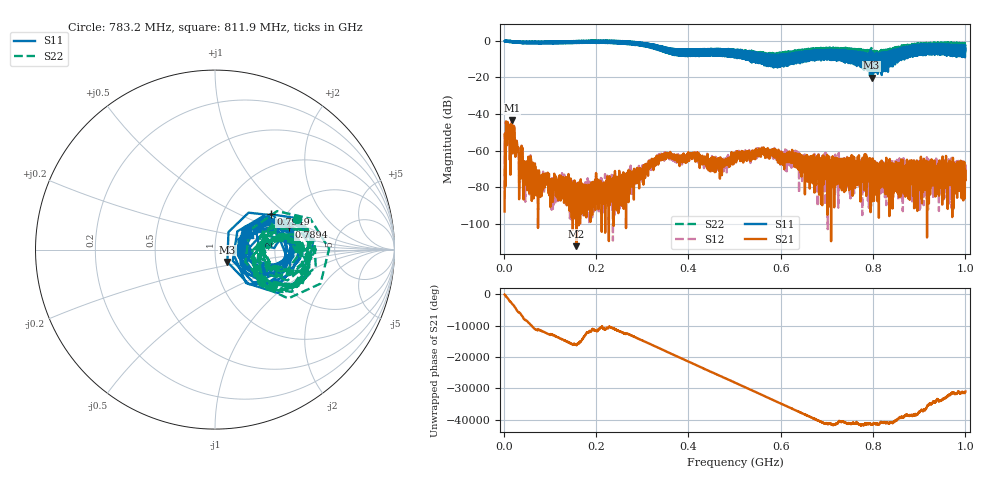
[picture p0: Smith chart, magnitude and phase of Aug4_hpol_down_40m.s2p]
!Keysight Technologies N9923A: A.12.45
!Date: Tuesday, 05 August 2025 19:04:59
!Timezone: (UTC+08:00) Kuala Lumpur, Singapore
!Model: N9923A
!Serial: MY61181427
!GPS Latitude:
!GPS Longitude:
!GPS TimeStamp: 0001-01-01 00:00:00Z
!GPS Seconds Since Last Read: 0
!CHECKSUM:0980365549
!Correction: S11(ON U)S21(ON U)S12(ON U)S22(ON U)
!S2P File: Measurements:S11,S21,S12,S22:
# Hz S DB R 50
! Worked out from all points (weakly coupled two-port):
!   4001 points, 2 MHz to 1 GHz, reference 50 ohm
!   highest |S21| = -43.37 dB at 17.97 MHz (marker M1); lowest = -112.2 dB at 157.7 MHz (marker M2)
!   lowest |S11| = -20.2 dB at 796.9 MHz (marker M3), VSWR 1.22, Z = 56.8 - j7.9 ohm
!   |S11| at or under -10 dB: 575.8139 MHz to 576.5993 MHz (785.3 kHz wide, 0.136 % of centre); 582.5495 MHz to 583.3441 MHz (794.6 kHz wide, 0.136 % of centre); 589.3054 MHz to 590.1078 MHz (802.4 kHz wide, 0.136 % of centre)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
!   |S22| runs from -14.7 to 0.2 dB; largest |S21 - S12| = 0.0011
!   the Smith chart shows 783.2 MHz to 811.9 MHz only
!   S11 on the Smith chart (normalised r, x): 783.2 MHz: 1.39, +0.33; 789.4 MHz: 2.25, +0.69; 794.9 MHz: 1.68, +0.76; 811.9 MHz: 1.46, +0.25
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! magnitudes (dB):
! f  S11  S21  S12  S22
! 2 MHz  -0.1  -93.2  -81.0  -0.1
! 7.489 MHz  -0.6  -52.9  -52.9  -0.5
! 17.97 MHz  -0.5  -43.4  -43.3  -0.5
! 46.91 MHz  -0.5  -78.7  -81.4  -0.5
! 57.39 MHz  -1.1  -65.6  -65.8  -1.0
! 74.36 MHz  -1.4  -102.3  -86.4  -1.3
! 157.7 MHz  -0.2  -112.2  -87.8  -0.1
! 168.4 MHz  -1.2  -94.4  -77.5  -1.0
! 261.7 MHz  -0.4  -76.9  -83.6  -0.2
! 334.8 MHz  -3.8  -65.4  -64.9  -4.5
! 410.2 MHz  -5.6  -62.5  -62.9  -6.5
! 465.3 MHz  -7.3  -64.2  -64.8  -7.8
! 501 MHz  -5.7  -65.3  -63.4  -6.5
! 561.1 MHz  -12.3  -60.6  -59.5  -11.1
! 667.4 MHz  -8.6  -63.9  -67.5  -8.7
! 783.2 MHz  -13.4  -69.3  -72.9  -6.2
! 789.4 MHz  -7.3  -74.1  -78.2  -5.9
! 794.9 MHz  -8.7  -75.1  -68.1  -7.5
! 796.9 MHz  -20.2  -87.9  -67.4  -7.8
! 811.9 MHz  -13.4  -76.6  -69.6  -6.7
! 833.8 MHz  -10.7  -71.2  -67.8  -5.4
! 1 GHz  -2.7  -71.0  -67.6  -2.4
